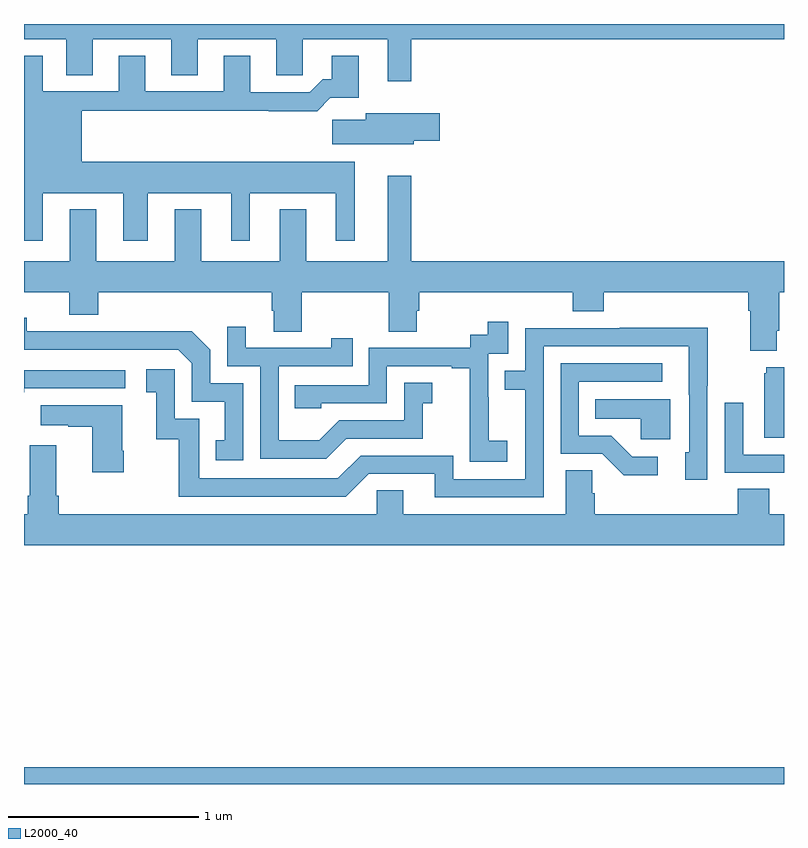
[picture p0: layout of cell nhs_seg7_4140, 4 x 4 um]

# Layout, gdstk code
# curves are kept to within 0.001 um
import gdstk
lib = gdstk.Library(unit=1e-6, precision=1e-09)
def R(c, l, rs):  # rectangles x0, y0, x1, y1
    for r in rs: c.add(gdstk.rectangle(r[:2], r[2:], *l))
def P(c, l, *ps):  # polygons
    for p in ps: c.add(gdstk.Polygon(p, *l))
L2000_40 = (2000, 40)

nhs_seg7_4140 = lib.new_cell('nhs_seg7_4140')
R(nhs_seg7_4140, L2000_40, [(373,1026,377,1026.088)])
P(nhs_seg7_4140, L2000_40, [(375.037,1029.92),(377,1029.92),(377,1030),(373,1030),(373,1029.92),(373.223,1029.92),(373.223,1029.73),(373.363,1029.73),(373.363,1029.92),(373.775,1029.92),(373.775,1029.73),(373.915,1029.73),(373.915,1029.92),(374.327,1029.92),(374.327,1029.73),(374.466,1029.73),(374.466,1029.92),(374.915,1029.92),(374.915,1029.699),(375.037,1029.699)],
  [(373.099,1029.11),(373.523,1029.11),(373.523,1028.859),(373.651,1028.859),(373.651,1029.11),(374.09,1029.11),(374.09,1028.859),(374.188,1028.859),(374.188,1029.11),(374.642,1029.11),(374.642,1028.859),(374.74,1028.859),(374.74,1029.274),(373.303,1029.274),(373.303,1029.544),(374.287,1029.544),(374.287,1029.542),(374.543,1029.542),(374.612,1029.611),(374.761,1029.611),(374.761,1029.832),(374.621,1029.832),(374.621,1029.709),(374.572,1029.709),(374.505,1029.642),(374.191,1029.642),(374.191,1029.832),(374.051,1029.832),(374.051,1029.645),(373.639,1029.645),(373.639,1029.832),(373.499,1029.832),(373.499,1029.645),(373.099,1029.645),(373.099,1029.832),(373,1029.832),(373,1028.859),(373.099,1028.859)],
  [(375.052,1029.386),(375.187,1029.386),(375.187,1029.529),(374.798,1029.529),(374.798,1029.497),(374.622,1029.497),(374.622,1029.368),(375.052,1029.368)],
  [(373.793,1029.025),(373.793,1028.752),(373.381,1028.752),(373.381,1029.025),(373.241,1029.025),(373.241,1028.752),(373,1028.752),(373,1028.588),(373.238,1028.588),(373.238,1028.471),(373.391,1028.471),(373.391,1028.588),(374.303,1028.588),(374.303,1028.49),(374.315,1028.49),(374.315,1028.38),(374.463,1028.38),(374.463,1028.588),(374.92,1028.588),(374.92,1028.38),(375.067,1028.38),(375.067,1028.49),(375.08,1028.49),(375.08,1028.588),(375.887,1028.588),(375.887,1028.489),(376.052,1028.489),(376.052,1028.588),(376.811,1028.588),(376.811,1028.492),(376.823,1028.492),(376.823,1028.279),(376.963,1028.279),(376.963,1028.386),(376.976,1028.386),(376.976,1028.588),(377,1028.588),(377,1028.752),(375.037,1028.752),(375.037,1029.202),(374.915,1029.202),(374.915,1028.752),(374.485,1028.752),(374.485,1029.025),(374.345,1029.025),(374.345,1028.752),(373.933,1028.752),(373.933,1029.025)],
  [(374.154,1028.109),(373.98,1028.109),(373.98,1028.286),(373.882,1028.384),(373.474,1028.384),(373.474,1028.382),(373.014,1028.382),(373.014,1028.455),(373,1028.455),(373,1028.286),(373.812,1028.286),(373.884,1028.214),(373.884,1028.013),(374.057,1028.013),(374.057,1027.809),(374.008,1027.809),(374.008,1027.704),(374.154,1027.704)],
  [(375.544,1027.807),(375.446,1027.807),(375.446,1028.036),(375.444,1028.036),(375.444,1028.265),(375.549,1028.265),(375.549,1028.434),(375.441,1028.434),(375.441,1028.364),(375.348,1028.364),(375.348,1028.295),(374.814,1028.295),(374.814,1028.1),(374.425,1028.1),(374.425,1027.977),(374.565,1027.977),(374.565,1028.004),(374.91,1028.004),(374.91,1028.199),(375.251,1028.199),(375.251,1028.187),(375.347,1028.187),(375.347,1027.903),(375.346,1027.903),(375.346,1027.697),(375.544,1027.697)],
  [(374.695,1027.818),(375.099,1027.818),(375.099,1028.003),(375.148,1028.003),(375.148,1028.113),(375,1028.113),(375,1027.914),(374.658,1027.914),(374.554,1027.81),(374.34,1027.81),(374.34,1028.199),(374.729,1028.199),(374.729,1028.347),(374.618,1028.347),(374.618,1028.295),(374.167,1028.295),(374.167,1028.407),(374.07,1028.407),(374.07,1028.199),(374.244,1028.199),(374.244,1027.713),(374.59,1027.713)],
  [(375.735,1028.304),(376.499,1028.304),(376.5,1027.746),(376.481,1027.746),(376.481,1027.602),(376.596,1027.602),(376.596,1028.095),(376.599,1028.095),(376.599,1028.402),(376.135,1028.402),(376.135,1028.4),(375.639,1028.4),(375.639,1028.175),(375.529,1028.175),(375.529,1028.074),(375.639,1028.074),(375.639,1027.605),(375.258,1027.605),(375.258,1027.728),(374.772,1027.728),(374.652,1027.608),(373.923,1027.608),(373.923,1027.923),(373.794,1027.923),(373.794,1028.182),(373.644,1028.182),(373.644,1028.061),(373.697,1028.061),(373.697,1027.815),(373.815,1027.815),(373.815,1027.512),(374.694,1027.512),(374.814,1027.632),(375.161,1027.632),(375.161,1027.509),(375.735,1027.509)],
  [(376.336,1027.722),(376.201,1027.722),(376.09,1027.833),(375.921,1027.833),(375.921,1028.118),(376.36,1028.118),(376.36,1028.214),(375.825,1028.214),(375.825,1027.737),(376.044,1027.737),(376.157,1027.625),(376.336,1027.625)],
  [(377,1028.194),(376.907,1028.194),(376.907,1028.163),(376.895,1028.163),(376.895,1027.823),(377,1027.823)],
  [(373.001,1028.082),(373.534,1028.082),(373.534,1028.178),(373,1028.178),(373,1028.062),(373.001,1028.062)],
  [(376.402,1028.026),(376.006,1028.026),(376.006,1027.922),(376.245,1027.922),(376.245,1027.814),(376.402,1027.814)],
  [(377,1027.734),(376.785,1027.734),(376.785,1028.007),(376.689,1028.007),(376.689,1027.638),(377,1027.638)],
  [(373.524,1027.753),(373.516,1027.753),(373.516,1027.993),(373.089,1027.993),(373.089,1027.889),(373.232,1027.889),(373.232,1027.879),(373.358,1027.879),(373.358,1027.641),(373.524,1027.641)],
  [(377,1027.42),(376.922,1027.42),(376.922,1027.553),(376.757,1027.553),(376.757,1027.42),(376.004,1027.42),(376.004,1027.529),(375.99,1027.529),(375.99,1027.652),(375.851,1027.652),(375.851,1027.42),(374.995,1027.42),(374.995,1027.547),(374.856,1027.547),(374.856,1027.42),(373.184,1027.42),(373.184,1027.516),(373.171,1027.516),(373.171,1027.783),(373.031,1027.783),(373.031,1027.516),(373.019,1027.516),(373.019,1027.42),(373,1027.42),(373,1027.256),(377,1027.256)])

lib.write_gds('nhs_seg7_4140.gds')
